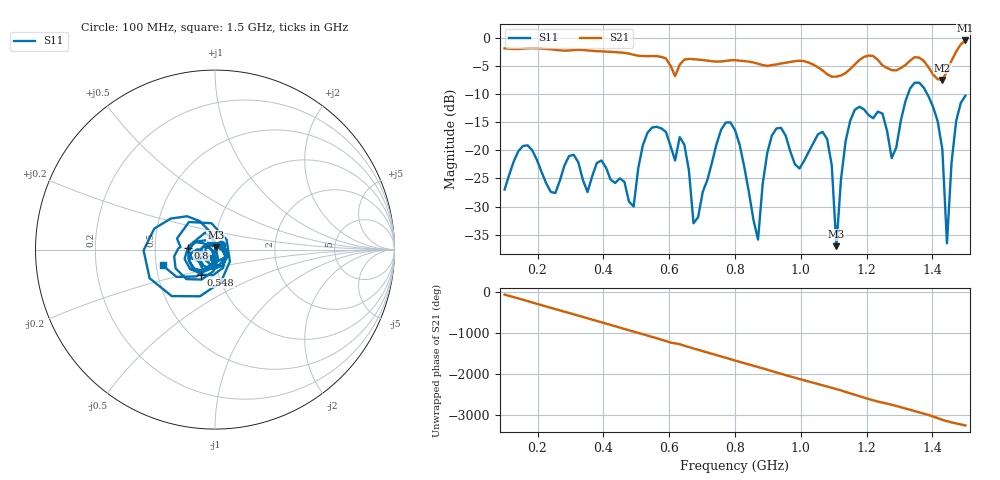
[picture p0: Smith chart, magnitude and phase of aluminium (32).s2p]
! NanoVNA-App
! Date: 2025-09-26 09:58:18
! Start: 100MHz Stop: 1,5GHz Points: 101
! S-Parameter data: F S11 S21 S12 S22
# Hz S RI R 50
!  Frequency  S11_Real  S11_Imag  S21_Real  S21_Imag  S12_Real  S12_Imag  S22_Real  S22_Imag
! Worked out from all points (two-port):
!   101 points, 100 MHz to 1.5 GHz, reference 50 ohm
!   highest |S21| = -0.51 dB at 1.5 GHz (marker M1); lowest = -7.5 dB at 1.43 GHz (marker M2)
!   |S21| within 3 dB of the highest: start of sweep to 580.1 MHz; 1.19 GHz to 1.225 GHz (35.12 MHz wide, 2.91 % of centre)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
!   lowest |S11| = -37.0 dB at 1.108 GHz (marker M3), VSWR 1.03, Z = 50.3 + j1.37 ohm
!   |S11| at or under -10 dB: start of sweep to 1.326 GHz; 1.384 GHz to end of sweep
!   S12 and S22 are empty: the file has one direction only
!   S11 on the Smith chart (normalised r, x): 100 MHz: 1.07, +0.06; 548 MHz: 0.83, -0.24; 800 MHz: 0.74, +0.02; 1.5 GHz: 0.54, -0.10
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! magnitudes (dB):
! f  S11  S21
! 100 MHz  -27.0  -1.9
! 156 MHz  -19.2  -2.0
! 338 MHz  -25.3  -2.2
! 492 MHz  -30.0  -3.0
! 548 MHz  -16.0  -3.3
! 576 MHz  -16.1  -3.4
! 646 MHz  -19.0  -3.9
! 674 MHz  -33.0  -3.8
! 800 MHz  -16.4  -4.0
! 870 MHz  -35.8  -4.6
! 912 MHz  -17.4  -4.9
! 1.038 GHz  -18.7  -4.8
! 1.08 GHz  -18.0  -6.5
! 1.108 GHz  -37.0  -6.9
! 1.136 GHz  -18.4  -6.3
! 1.164 GHz  -12.8  -4.8
! 1.276 GHz  -21.4  -5.8
! 1.346 GHz  -8.0  -3.5
! 1.43 GHz  -19.9  -7.5
! 1.444 GHz  -36.5  -6.0
! 1.472 GHz  -14.8  -2.5
! 1.5 GHz  -10.3  -0.5
